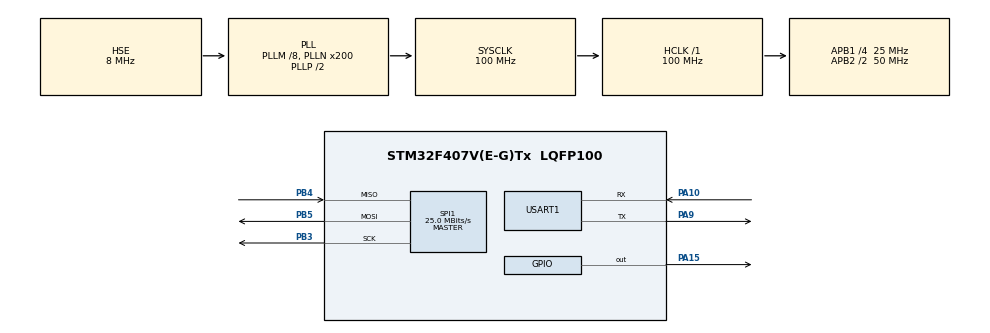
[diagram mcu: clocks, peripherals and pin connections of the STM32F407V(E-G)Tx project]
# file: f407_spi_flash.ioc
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Mcu.Family=STM32F4
Mcu.Name=STM32F407V(E-G)Tx
Mcu.Package=LQFP100
NVIC.PriorityGroup=NVIC_PRIORITYGROUP_4
PA10.Mode=Asynchronous
PA10.Signal=USART1_RX
PA13.Mode=Serial_Wire
PA13.Signal=SYS_JTMS-SWDIO
PA14.Mode=Serial_Wire
PA14.Signal=SYS_JTCK-SWCLK
PA15.Signal=GPIO_Output
PA9.Mode=Asynchronous
PA9.Signal=USART1_TX
PB3.Mode=Full_Duplex_Master
PB3.Signal=SPI1_SCK
PB4.Mode=Full_Duplex_Master
PB4.Signal=SPI1_MISO
PB5.Mode=Full_Duplex_Master
PB5.Signal=SPI1_MOSI
PH0-OSC_IN.Mode=HSE-External-Oscillator
PH0-OSC_IN.Signal=RCC_OSC_IN
PH1-OSC_OUT.Mode=HSE-External-Oscillator
PH1-OSC_OUT.Signal=RCC_OSC_OUT
ProjectManager.HeapSize=0x200
ProjectManager.StackSize=0x400
ProjectManager.TargetToolchain=STM32CubeIDE
RCC.48MHZClocksFreq_Value=50000000
RCC.AHBFreq_Value=100000000
RCC.APB1CLKDivider=RCC_HCLK_DIV4
RCC.APB1Freq_Value=25000000
RCC.APB1TimFreq_Value=50000000
RCC.APB2CLKDivider=RCC_HCLK_DIV2
RCC.APB2Freq_Value=50000000
RCC.APB2TimFreq_Value=100000000
RCC.CortexFreq_Value=100000000
RCC.HCLKFreq_Value=100000000
RCC.HSE_VALUE=8000000
RCC.HSI_VALUE=16000000
RCC.LSE_VALUE=32768
RCC.PLLM=8
RCC.PLLN=200
RCC.PLLSourceVirtual=RCC_PLLSOURCE_HSE
RCC.SYSCLKFreq_VALUE=100000000
RCC.SYSCLKSource=RCC_SYSCLKSOURCE_PLLCLK
RCC.VCOOutputFreq_Value=200000000
SPI1.BaudRatePrescaler=SPI_BAUDRATEPRESCALER_2
SPI1.CalculateBaudRate=25.0 MBits/s
SPI1.Direction=SPI_DIRECTION_2LINES
SPI1.Mode=SPI_MODE_MASTER
SPI1.VirtualType=VM_MASTER
USART1.VirtualMode=VM_ASYNC
board=custom

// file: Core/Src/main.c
/* USER CODE BEGIN Header */
// DevEBox STM32F407VGT6 dev board
// Demos use of HAL SPI api to write to and read from on-board Winbond W25Q16 SPI flash
// Ref: board schematic, the flash is connected to pins PB3, PB4 and PB5 for clock/data
// and PA15 for chip select.
/* USER CODE END Header */

#include "main.h"

/* USER CODE BEGIN Includes */
#include <stdio.h>
#include "w25qxxConf.h"
#include "w25qxx.h"
/* USER CODE END Includes */

SPI_HandleTypeDef hspi1;

UART_HandleTypeDef huart1;

void SystemClock_Config(void);
static void MX_GPIO_Init(void);
static void MX_SPI1_Init(void);
static void MX_USART1_UART_Init(void);

/* USER CODE BEGIN 0 */

// uncomment this to erase the sector containing the test write/read page
// and write some test data

//#define TEST_WRITE_FLASH

uint8_t WriteData[] 	= "The quick brown fox jumped over the lazy dog\r\n";
uint8_t ReadData[50]	= {0x00};

/* USER CODE END 0 */

int main(void)
{

  /* MCU Configuration--------------------------------------------------------*/

  /* Reset of all peripherals, Initializes the Flash interface and the Systick. */
  HAL_Init();

  /* Configure the system clock */
  SystemClock_Config();

  /* Initialize all configured peripherals */
  MX_GPIO_Init();
  MX_SPI1_Init();
  MX_USART1_UART_Init();
  /* USER CODE BEGIN 2 */
  // set spi flash chip select HIGH
  HAL_GPIO_WritePin(_W25QXX_CS_GPIO, _W25QXX_CS_PIN, GPIO_PIN_SET);

  // init code reads flash id and hence the page/sector/block sizes
  if (false == W25qxx_Init()) {
	  Error_Handler();
  	  }

  // W25Q16 : number pages = 8192, page size = 256 bytes
  // test with arbitrary page address and offset
  uint32_t pageAddress = 517;
  uint32_t pageOffset = 75;

#ifdef TEST_WRITE_FLASH
  // W25Q16 sector size = 4096 bytes
  W25qxx_EraseSector(W25qxx_PageToSector(pageAddress));
  W25qxx_WritePage(WriteData, pageAddress, pageOffset, sizeof(WriteData));
#endif

  W25qxx_ReadPage(ReadData, pageAddress, pageOffset, sizeof(WriteData));

  HAL_UART_Transmit(&huart1, (uint8_t*)ReadData, (uint16_t)sizeof(WriteData), HAL_MAX_DELAY);

  /* USER CODE END 2 */

  /* Infinite loop */
  while (1)
  {

  }
}

void SystemClock_Config(void)
{
  RCC_OscInitTypeDef RCC_OscInitStruct = {0};
  RCC_ClkInitTypeDef RCC_ClkInitStruct = {0};

  /** Configure the main internal regulator output voltage
  */
  __HAL_RCC_PWR_CLK_ENABLE();
  __HAL_PWR_VOLTAGESCALING_CONFIG(PWR_REGULATOR_VOLTAGE_SCALE1);
  /** Initializes the CPU, AHB and APB busses clocks
  */
  RCC_OscInitStruct.OscillatorType = RCC_OSCILLATORTYPE_HSE;
  RCC_OscInitStruct.HSEState = RCC_HSE_ON;
  RCC_OscInitStruct.PLL.PLLState = RCC_PLL_ON;
  RCC_OscInitStruct.PLL.PLLSource = RCC_PLLSOURCE_HSE;
  RCC_OscInitStruct.PLL.PLLM = 8;
  RCC_OscInitStruct.PLL.PLLN = 200;
  RCC_OscInitStruct.PLL.PLLP = RCC_PLLP_DIV2;
  RCC_OscInitStruct.PLL.PLLQ = 4;
  if (HAL_RCC_OscConfig(&RCC_OscInitStruct) != HAL_OK)
  {
    Error_Handler();
  }
  /** Initializes the CPU, AHB and APB busses clocks
  */
  RCC_ClkInitStruct.ClockType = RCC_CLOCKTYPE_HCLK|RCC_CLOCKTYPE_SYSCLK
                              |RCC_CLOCKTYPE_PCLK1|RCC_CLOCKTYPE_PCLK2;
  RCC_ClkInitStruct.SYSCLKSource = RCC_SYSCLKSOURCE_PLLCLK;
  RCC_ClkInitStruct.AHBCLKDivider = RCC_SYSCLK_DIV1;
  RCC_ClkInitStruct.APB1CLKDivider = RCC_HCLK_DIV4;
  RCC_ClkInitStruct.APB2CLKDivider = RCC_HCLK_DIV2;

  if (HAL_RCC_ClockConfig(&RCC_ClkInitStruct, FLASH_LATENCY_3) != HAL_OK)
  {
    Error_Handler();
  }
}

static void MX_SPI1_Init(void)
{

  /* SPI1 parameter configuration*/
  hspi1.Instance = SPI1;
  hspi1.Init.Mode = SPI_MODE_MASTER;
  hspi1.Init.Direction = SPI_DIRECTION_2LINES;
  hspi1.Init.DataSize = SPI_DATASIZE_8BIT;
  hspi1.Init.CLKPolarity = SPI_POLARITY_LOW;
  hspi1.Init.CLKPhase = SPI_PHASE_1EDGE;
  hspi1.Init.NSS = SPI_NSS_SOFT;
  hspi1.Init.BaudRatePrescaler = SPI_BAUDRATEPRESCALER_2;
  hspi1.Init.FirstBit = SPI_FIRSTBIT_MSB;
  hspi1.Init.TIMode = SPI_TIMODE_DISABLE;
  hspi1.Init.CRCCalculation = SPI_CRCCALCULATION_DISABLE;
  hspi1.Init.CRCPolynomial = 10;
  if (HAL_SPI_Init(&hspi1) != HAL_OK)
  {
    Error_Handler();
  }

}

static void MX_USART1_UART_Init(void)
{

  huart1.Instance = USART1;
  huart1.Init.BaudRate = 115200;
  huart1.Init.WordLength = UART_WORDLENGTH_8B;
  huart1.Init.StopBits = UART_STOPBITS_1;
  huart1.Init.Parity = UART_PARITY_NONE;
  huart1.Init.Mode = UART_MODE_TX_RX;
  huart1.Init.HwFlowCtl = UART_HWCONTROL_NONE;
  huart1.Init.OverSampling = UART_OVERSAMPLING_16;
  if (HAL_UART_Init(&huart1) != HAL_OK)
  {
    Error_Handler();
  }

}

static void MX_GPIO_Init(void)
{
  GPIO_InitTypeDef GPIO_InitStruct = {0};

  /* GPIO Ports Clock Enable */
  __HAL_RCC_GPIOH_CLK_ENABLE();
  __HAL_RCC_GPIOA_CLK_ENABLE();
  __HAL_RCC_GPIOB_CLK_ENABLE();

  /*Configure GPIO pin Output Level */
  HAL_GPIO_WritePin(GPIOA, GPIO_PIN_15, GPIO_PIN_RESET);

  /*Configure GPIO pin : PA15 */
  GPIO_InitStruct.Pin = GPIO_PIN_15;
  GPIO_InitStruct.Mode = GPIO_MODE_OUTPUT_PP;
  GPIO_InitStruct.Pull = GPIO_NOPULL;
  GPIO_InitStruct.Speed = GPIO_SPEED_FREQ_LOW;
  HAL_GPIO_Init(GPIOA, &GPIO_InitStruct);

}

void Error_Handler(void)
{
  /* USER CODE BEGIN Error_Handler_Debug */
  /* User can add his own implementation to report the HAL error return state */
    // Toggle the board LED rapidly
	int counter = 0;
	while (1) {
		HAL_GPIO_TogglePin(GPIOA, GPIO_PIN_1);
		while (counter < 0x3FFFF) {counter++;}
		counter = 0;
		}
  /* USER CODE END Error_Handler_Debug */
}

/************************ (C) COPYRIGHT STMicroelectronics *****END OF FILE****/
